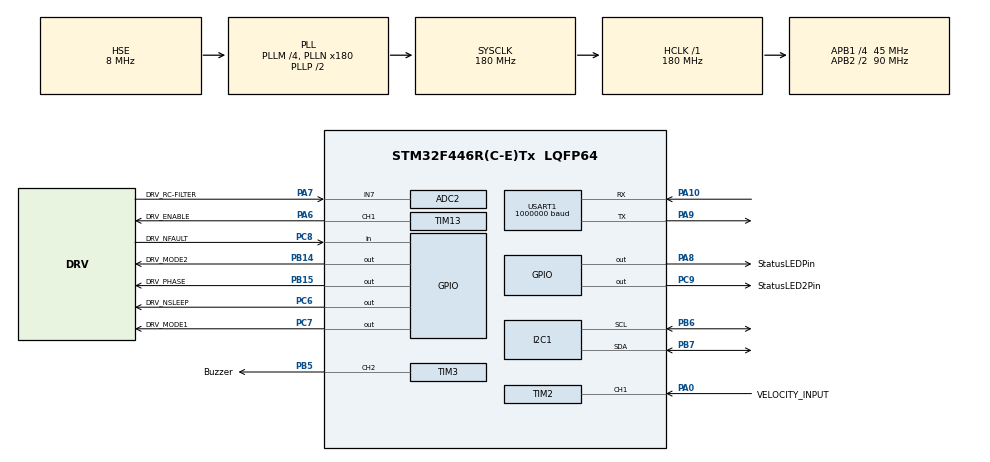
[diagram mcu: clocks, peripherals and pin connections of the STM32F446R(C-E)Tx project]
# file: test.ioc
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ADC2.Channel-0\#ChannelRegularConversion=ADC_CHANNEL_7
ADC2.NbrOfConversionFlag=1
ADC2.Rank-0\#ChannelRegularConversion=1
ADC2.SamplingTime-0\#ChannelRegularConversion=ADC_SAMPLETIME_3CYCLES
I2C1.I2C_Mode=I2C_Fast
Mcu.Family=STM32F4
Mcu.Name=STM32F446R(C-E)Tx
Mcu.Package=LQFP64
NVIC.I2C1_ER_IRQn=true\:12\:0\:true\:false\:true\:true
NVIC.I2C1_EV_IRQn=true\:12\:0\:true\:false\:true\:true
NVIC.PriorityGroup=NVIC_PRIORITYGROUP_4
NVIC.TIM2_IRQn=true\:11\:0\:true\:false\:true\:true
NVIC.TIM3_IRQn=true\:0\:0\:false\:false\:true\:true
NVIC.TIM4_IRQn=true\:0\:0\:false\:false\:true\:true
NVIC.USART1_IRQn=true\:10\:0\:true\:false\:true\:true
PA0-WKUP.GPIO_Label=VELOCITY_INPUT
PA0-WKUP.Signal=S_TIM2_CH1_ETR
PA10.Mode=Asynchronous
PA10.Signal=USART1_RX
PA13.Mode=Serial_Wire
PA13.Signal=SYS_JTMS-SWDIO
PA14.Mode=Serial_Wire
PA14.Signal=SYS_JTCK-SWCLK
PA6.GPIO_Label=DRV_ENABLE
PA6.GPIO_PuPd=GPIO_PULLDOWN
PA6.GPIO_Speed=GPIO_SPEED_FREQ_HIGH
PA6.Signal=S_TIM13_CH1
PA7.GPIO_Label=DRV_RC-FILTER
PA7.Signal=ADCx_IN7
PA8.GPIO_Label=StatusLEDPin
PA8.Signal=GPIO_Output
PA9.Mode=Asynchronous
PA9.Signal=USART1_TX
PB14.GPIO_Label=DRV_MODE2
PB14.Signal=GPIO_Output
PB15.GPIO_Label=DRV_PHASE
PB15.GPIO_PuPd=GPIO_PULLDOWN
PB15.Signal=GPIO_Output
PB5.GPIO_Label=Buzzer
PB5.Signal=S_TIM3_CH2
PB6.Mode=I2C
PB6.Signal=I2C1_SCL
PB7.Mode=I2C
PB7.Signal=I2C1_SDA
PC6.GPIO_Label=DRV_NSLEEP
PC6.GPIO_PuPd=GPIO_NOPULL
PC6.Signal=GPIO_Output
PC7.GPIO_Label=DRV_MODE1
PC7.Signal=GPIO_Output
PC8.GPIO_Label=DRV_NFAULT
PC8.Signal=GPIO_Input
PC9.GPIO_Label=StatusLED2Pin
PC9.Signal=GPIO_Output
PH0-OSC_IN.Mode=HSE-External-Oscillator
PH0-OSC_IN.Signal=RCC_OSC_IN
PH1-OSC_OUT.Mode=HSE-External-Oscillator
PH1-OSC_OUT.Signal=RCC_OSC_OUT
ProjectManager.HeapSize=0x200
ProjectManager.StackSize=0x400
ProjectManager.TargetToolchain=TrueSTUDIO
RCC.AHBFreq_Value=180000000
RCC.APB1CLKDivider=RCC_HCLK_DIV4
RCC.APB1Freq_Value=45000000
RCC.APB1TimFreq_Value=90000000
RCC.APB2CLKDivider=RCC_HCLK_DIV2
RCC.APB2Freq_Value=90000000
RCC.APB2TimFreq_Value=180000000
RCC.CortexFreq_Value=180000000
RCC.HCLKFreq_Value=180000000
RCC.HSE_VALUE=8000000
RCC.PLLM=4
RCC.PLLN=180
RCC.PLLSourceVirtual=RCC_PLLSOURCE_HSE
RCC.SYSCLKFreq_VALUE=180000000
RCC.SYSCLKSource=RCC_SYSCLKSOURCE_PLLCLK
RCC.USBFreq_Value=180000000
RCC.VCOOutputFreq_Value=360000000
SH.ADCx_IN7.0=ADC2_IN7,IN7
SH.S_TIM13_CH1.0=TIM13_CH1,PWM Generation1 CH1
SH.S_TIM2_CH1_ETR.0=TIM2_CH1,Input_Capture1_from_TI1
SH.S_TIM3_CH2.0=TIM3_CH2,PWM Generation2 CH2
TIM13.Channel=TIM_CHANNEL_1
TIM13.Period=4000
TIM13.Prescaler=3
TIM2.Channel-Input_Capture1_from_TI1=TIM_CHANNEL_1
TIM2.ICFilter_CH1=15
TIM2.ICPolarity_CH1=TIM_INPUTCHANNELPOLARITY_FALLING
TIM2.Period=180000-1
TIM2.Prescaler=50-1
TIM3.Channel-PWM\ Generation2\ CH2=TIM_CHANNEL_2
TIM3.Period=1000
TIM3.Prescaler=450
TIM4.Period=1000-1
TIM4.Prescaler=450-1
USART1.BaudRate=1000000
USART1.VirtualMode=VM_ASYNC
VP_TIM13_VS_ClockSourceINT.Mode=Enable_Timer
VP_TIM2_VS_ClockSourceINT.Mode=Internal
VP_TIM3_VS_ClockSourceINT.Mode=Internal
VP_TIM4_VS_ClockSourceINT.Mode=Internal
board=custom

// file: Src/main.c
/**
  ******************************************************************************
  * @file           : main.c
  * @brief          : Main program body
  ******************************************************************************
  ** This notice applies to any and all portions of this file
  * that are not between comment pairs USER CODE BEGIN and
  * USER CODE END. Other portions of this file, whether
  * inserted by the user or by software development tools
  * are owned by their respective copyright owners.
  *
  * COPYRIGHT(c) 2019 STMicroelectronics
  *
  * Redistribution and use in source and binary forms, with or without modification,
  * are permitted provided that the following conditions are met:
  *   1. Redistributions of source code must retain the above copyright notice,
  *      this list of conditions and the following disclaimer.
  *   2. Redistributions in binary form must reproduce the above copyright notice,
  *      this list of conditions and the following disclaimer in the documentation
  *      and/or other materials provided with the distribution.
  *   3. Neither the name of STMicroelectronics nor the names of its contributors
  *      may be used to endorse or promote products derived from this software
  *      without specific prior written permission.
  *
  * THIS SOFTWARE IS PROVIDED BY THE COPYRIGHT HOLDERS AND CONTRIBUTORS "AS IS"
  * AND ANY EXPRESS OR IMPLIED WARRANTIES, INCLUDING, BUT NOT LIMITED TO, THE
  * IMPLIED WARRANTIES OF MERCHANTABILITY AND FITNESS FOR A PARTICULAR PURPOSE ARE
  * DISCLAIMED. IN NO EVENT SHALL THE COPYRIGHT HOLDER OR CONTRIBUTORS BE LIABLE
  * FOR ANY DIRECT, INDIRECT, INCIDENTAL, SPECIAL, EXEMPLARY, OR CONSEQUENTIAL
  * DAMAGES (INCLUDING, BUT NOT LIMITED TO, PROCUREMENT OF SUBSTITUTE GOODS OR
  * SERVICES; LOSS OF USE, DATA, OR PROFITS; OR BUSINESS INTERRUPTION) HOWEVER
  * CAUSED AND ON ANY THEORY OF LIABILITY, WHETHER IN CONTRACT, STRICT LIABILITY,
  * OR TORT (INCLUDING NEGLIGENCE OR OTHERWISE) ARISING IN ANY WAY OUT OF THE USE
  * OF THIS SOFTWARE, EVEN IF ADVISED OF THE POSSIBILITY OF SUCH DAMAGE.
  *
  ******************************************************************************
  */
#include "main.h"
#include "stm32f4xx_hal.h"

/* USER CODE BEGIN Includes */

#include "mpu6500.h"
/* USER CODE END Includes */

ADC_HandleTypeDef hadc2;

I2C_HandleTypeDef hi2c1;

TIM_HandleTypeDef htim2;
TIM_HandleTypeDef htim3;
TIM_HandleTypeDef htim4;
TIM_HandleTypeDef htim13;

UART_HandleTypeDef huart1;

/* USER CODE BEGIN PV */
/* Private variables ---------------------------------------------------------*/
static volatile int UART_READY  = 1;
static volatile int UART_SEND 	= 0;
static volatile int UART_RX 	= 0;
static volatile int I2C_READY 	= 1;
static volatile int MOTOR_READY = 1;
static volatile int TEST_START	= 0;			//FLAG UM EINEN TEST ZU STARTEN

static volatile int DATA_READY_IMU	= 1;

static volatile int TIMER_1MS_READY  = 0;
static volatile int TIMER_AXIS_FINISHED = 0;
 int i = 0;

 int o = 0;

 int a = 0;			//offset calibration y accel

uint8_t initData[2] = {MPU6500_RA_PWR_MGMT_1, 0x80 };
uint8_t ACCEL_XYZ[6] = {0};
uint8_t GYRO_Z[2] = {0};
uint8_t	_GYRO_Z[4] = {0};
uint8_t test;
uint32_t		timeres = 0;
uint8_t			timere 	= 0;

int j = 0;
/*
float actualValues[40] = {0};
float actualValues1[40] = {0};
float actualValues2[40] = {0};
*/

struct{
	uint32_t	SP;
	uint32_t	timerVal;
	uint32_t	state;
	uint32_t	last_state;

}setpointFunc;

struct
{
	uint32_t	IC_Value;
	float		faktor;
	float		period;
	float		frequency_holes;
	float		frequency_axis;
	float		frequency_axis_last;
	float		frequency_axis_fir;
}RearAxis;

struct
{
	float		oldValue;
	float		coeff[2];
}IIR_Filter;

struct
{

	int16_t	raw_accel_x;
	int16_t	raw_accel_y;
	int16_t raw_accel_z;
	int16_t	raw_gyro_z;

	int16_t FIR_raw_accel_x;
	int16_t	FIR_raw_accel_y;
	int16_t FIR_raw_accel_z;
	int16_t FIR_raw_gyro_z;

	float gyro_z;
	float accel_x;
	float accel_y;
	float accel_z;
	uint32_t speed;
	uint32_t speed_fir;
	uint32_t speed_iir_1;
	uint32_t countVal;  //Debug

}MotionData;

struct
{
	float	v_k;		//ergebniss der modells
	float 	v_k_1;
	float	v_k_f;		//gefilteretes ergebnis der geschwindigkeit
	float	v_m;		//messung der geschwindigkeit aus der raddrehzahl
	float	a_k;		//gemessene Beschleunigung

	float 	r_k;		//residuum/innovation
	float	alpha;
	float 	beta;

}estimation;
struct
{
	float	SP_rev;			//setpoint
	float	PV;				//stellwerr
	float 	PV_stell;		//stellwert nach begrenzung
	float	e_k;
	float	lastValue;
	float	sum;			//i regler summe
	uint32_t	e_k_1;
	uint32_t	t_1;
	uint32_t	t_2;
	uint32_t	T;
}velCtrl;

struct
{
	uint32_t	count;
	float		average[100];
	float		offset_accel_y;
	uint32_t	active;
	float		sum;
	uint32_t	imuCalibrated;
}offsetCalculation;

float buffer[5] = {0};			//Moving Average

int16_t	buffer_fir_accel_x[9] = {0};
int16_t	buffer_fir_accel_y[9] = {0};
int16_t	buffer_fir_accel_z[9] = {0};
int16_t	buffer_fir_gyro_z[9] = {0};

char	uart_rxBuffer[4] = {0};			//ascii eingagnspuffer 0 - 4000 1/min
uint32_t	_uart_rxBuffer = 0;

/* USER CODE END PV */

void SystemClock_Config(void);
static void MX_GPIO_Init(void);
static void MX_TIM2_Init(void);
static void MX_TIM3_Init(void);
static void MX_ADC2_Init(void);
static void MX_TIM13_Init(void);
static void MX_USART1_UART_Init(void);
static void MX_I2C1_Init(void);
static void MX_TIM4_Init(void);

void HAL_TIM_MspPostInit(TIM_HandleTypeDef *htim);

/* USER CODE BEGIN PFP */

/* Private function prototypes -----------------------------------------------*/

void getMotionSensorData();
void initMotorDriver();
void sendDiagnosisData();
float IIRFilter(float newValue, float fktOld, float fktNew);
void controller();
void init_IIR_Filter();
void setpoint_func();
void init_SpeedEstimation();
void mpuCalibration();

/* USER CODE END PFP */

/* USER CODE BEGIN 0 */

#define REAR_GEAR_HOLES				10.0
#define TIMER_COUNTER_CYCLE			0.1		//Zykluszeit eines Timerdurchlaufes (90,000,000/50)/180,000
#define TIMER_CLOCK_PERIOD			900000.0	//ABP1 90 Mhz Timer Clk

/* USER CODE END 0 */

int main(void)
{

  /* MCU Configuration----------------------------------------------------------*/

  /* Reset of all peripherals, Initializes the Flash interface and the Systick. */
  HAL_Init();

  /* Configure the system clock */
  SystemClock_Config();

  /* Initialize all configured peripherals */
  MX_GPIO_Init();
  MX_TIM2_Init();
  MX_TIM3_Init();
  MX_ADC2_Init();
  MX_TIM13_Init();
  MX_USART1_UART_Init();
  MX_I2C1_Init();
  MX_TIM4_Init();
  /* USER CODE BEGIN 2 */

 // HAL_TIM_Base_Start(&htim3);
  HAL_TIM_Base_Start_IT(&htim2);
  HAL_TIM_IC_Start_IT(&htim2,TIM_CHANNEL_1);

  HAL_TIM_Base_Start_IT(&htim4);
  HAL_TIM_PWM_Start(&htim13, TIM_CHANNEL_1);
  HAL_TIM_PWM_Start(&htim3, TIM_CHANNEL_2);

  initMotorDriver();
  init_IIR_Filter();
  init_SpeedEstimation();

  HAL_I2C_Master_Transmit(&hi2c1, (MPU6500_ADDRESS_AD0_LOW << 1), (uint8_t *) &initData,sizeof(initData),200);

  HAL_Delay(1000);

  /* USER CODE END 2 */

  /* Infinite loop */
  /* USER CODE BEGIN WHILE */

	//UART MAGIC NUMBER
	_GYRO_Z[0] = 0x63;
	_GYRO_Z[1] = 0x12;

	offsetCalculation.active = 1;

	HAL_UART_Receive_IT(&huart1, (uint8_t *) &uart_rxBuffer, sizeof(uart_rxBuffer));
  while (1)
  {

	  if (UART_SEND && UART_READY)
	  {
		  UART_SEND = 0;
		  UART_READY = 0;
		  j += 5;
		  char txBuffer[50] = {0};
		  sprintf(txBuffer, "%d,%d,%d,%d,\r\n",j, (int) MotionData.accel_y, (int) MotionData.speed_fir, (int) (estimation.v_k_f * 1000));
		  HAL_UART_Transmit_IT(&huart1, (uint8_t *) &txBuffer, sizeof(txBuffer));
	  }

	  if(UART_RX)
	  {
		  UART_RX = 0;

		  HAL_UART_Receive_IT(&huart1, (uint8_t *) &uart_rxBuffer, sizeof(uart_rxBuffer));

		  _uart_rxBuffer = atoi((char *) &uart_rxBuffer);

		  //velCtrl.SP_rev = _uart_rxBuffer * 1.0;
			  TEST_START = 1;

		  uart_rxBuffer[3] = 0;
		  uart_rxBuffer[2] = 0;
		  uart_rxBuffer[1] = 0;
		  uart_rxBuffer[0] = 0;

 		  //ok
	  }

  /* USER CODE END WHILE */

  }

}

void SystemClock_Config(void)
{

  RCC_OscInitTypeDef RCC_OscInitStruct;
  RCC_ClkInitTypeDef RCC_ClkInitStruct;

    /**Configure the main internal regulator output voltage
    */
  __HAL_RCC_PWR_CLK_ENABLE();

  __HAL_PWR_VOLTAGESCALING_CONFIG(PWR_REGULATOR_VOLTAGE_SCALE1);

    /**Initializes the CPU, AHB and APB busses clocks
    */
  RCC_OscInitStruct.OscillatorType = RCC_OSCILLATORTYPE_HSE;
  RCC_OscInitStruct.HSEState = RCC_HSE_ON;
  RCC_OscInitStruct.PLL.PLLState = RCC_PLL_ON;
  RCC_OscInitStruct.PLL.PLLSource = RCC_PLLSOURCE_HSE;
  RCC_OscInitStruct.PLL.PLLM = 4;
  RCC_OscInitStruct.PLL.PLLN = 180;
  RCC_OscInitStruct.PLL.PLLP = RCC_PLLP_DIV2;
  RCC_OscInitStruct.PLL.PLLQ = 2;
  RCC_OscInitStruct.PLL.PLLR = 2;
  if (HAL_RCC_OscConfig(&RCC_OscInitStruct) != HAL_OK)
  {
    _Error_Handler(__FILE__, __LINE__);
  }

    /**Activate the Over-Drive mode
    */
  if (HAL_PWREx_EnableOverDrive() != HAL_OK)
  {
    _Error_Handler(__FILE__, __LINE__);
  }

    /**Initializes the CPU, AHB and APB busses clocks
    */
  RCC_ClkInitStruct.ClockType = RCC_CLOCKTYPE_HCLK|RCC_CLOCKTYPE_SYSCLK
                              |RCC_CLOCKTYPE_PCLK1|RCC_CLOCKTYPE_PCLK2;
  RCC_ClkInitStruct.SYSCLKSource = RCC_SYSCLKSOURCE_PLLCLK;
  RCC_ClkInitStruct.AHBCLKDivider = RCC_SYSCLK_DIV1;
  RCC_ClkInitStruct.APB1CLKDivider = RCC_HCLK_DIV4;
  RCC_ClkInitStruct.APB2CLKDivider = RCC_HCLK_DIV2;

  if (HAL_RCC_ClockConfig(&RCC_ClkInitStruct, FLASH_LATENCY_5) != HAL_OK)
  {
    _Error_Handler(__FILE__, __LINE__);
  }

    /**Configure the Systick interrupt time
    */
  HAL_SYSTICK_Config(HAL_RCC_GetHCLKFreq()/1000);

    /**Configure the Systick
    */
  HAL_SYSTICK_CLKSourceConfig(SYSTICK_CLKSOURCE_HCLK);

  /* SysTick_IRQn interrupt configuration */
  HAL_NVIC_SetPriority(SysTick_IRQn, 0, 0);
}

/* ADC2 init function */
static void MX_ADC2_Init(void)
{

  ADC_ChannelConfTypeDef sConfig;

    /**Configure the global features of the ADC (Clock, Resolution, Data Alignment and number of conversion)
    */
  hadc2.Instance = ADC2;
  hadc2.Init.ClockPrescaler = ADC_CLOCK_SYNC_PCLK_DIV4;
  hadc2.Init.Resolution = ADC_RESOLUTION_12B;
  hadc2.Init.ScanConvMode = DISABLE;
  hadc2.Init.ContinuousConvMode = DISABLE;
  hadc2.Init.DiscontinuousConvMode = DISABLE;
  hadc2.Init.ExternalTrigConvEdge = ADC_EXTERNALTRIGCONVEDGE_NONE;
  hadc2.Init.ExternalTrigConv = ADC_SOFTWARE_START;
  hadc2.Init.DataAlign = ADC_DATAALIGN_RIGHT;
  hadc2.Init.NbrOfConversion = 1;
  hadc2.Init.DMAContinuousRequests = DISABLE;
  hadc2.Init.EOCSelection = ADC_EOC_SINGLE_CONV;
  if (HAL_ADC_Init(&hadc2) != HAL_OK)
  {
    _Error_Handler(__FILE__, __LINE__);
  }

    /**Configure for the selected ADC regular channel its corresponding rank in the sequencer and its sample time.
    */
  sConfig.Channel = ADC_CHANNEL_7;
  sConfig.Rank = 1;
  sConfig.SamplingTime = ADC_SAMPLETIME_3CYCLES;
  if (HAL_ADC_ConfigChannel(&hadc2, &sConfig) != HAL_OK)
  {
    _Error_Handler(__FILE__, __LINE__);
  }

}

/* I2C1 init function */
static void MX_I2C1_Init(void)
{

  hi2c1.Instance = I2C1;
  hi2c1.Init.ClockSpeed = 400000;
  hi2c1.Init.DutyCycle = I2C_DUTYCYCLE_2;
  hi2c1.Init.OwnAddress1 = 0;
  hi2c1.Init.AddressingMode = I2C_ADDRESSINGMODE_7BIT;
  hi2c1.Init.DualAddressMode = I2C_DUALADDRESS_DISABLE;
  hi2c1.Init.OwnAddress2 = 0;
  hi2c1.Init.GeneralCallMode = I2C_GENERALCALL_DISABLE;
  hi2c1.Init.NoStretchMode = I2C_NOSTRETCH_DISABLE;
  if (HAL_I2C_Init(&hi2c1) != HAL_OK)
  {
    _Error_Handler(__FILE__, __LINE__);
  }

}

/* TIM2 init function */
static void MX_TIM2_Init(void)
{

  TIM_ClockConfigTypeDef sClockSourceConfig;
  TIM_MasterConfigTypeDef sMasterConfig;
  TIM_IC_InitTypeDef sConfigIC;

  htim2.Instance = TIM2;
  htim2.Init.Prescaler = 50-1;
  htim2.Init.CounterMode = TIM_COUNTERMODE_UP;
  htim2.Init.Period = 180000-1;
  htim2.Init.ClockDivision = TIM_CLOCKDIVISION_DIV1;
  if (HAL_TIM_Base_Init(&htim2) != HAL_OK)
  {
    _Error_Handler(__FILE__, __LINE__);
  }

  sClockSourceConfig.ClockSource = TIM_CLOCKSOURCE_INTERNAL;
  if (HAL_TIM_ConfigClockSource(&htim2, &sClockSourceConfig) != HAL_OK)
  {
    _Error_Handler(__FILE__, __LINE__);
  }

  if (HAL_TIM_IC_Init(&htim2) != HAL_OK)
  {
    _Error_Handler(__FILE__, __LINE__);
  }

  sMasterConfig.MasterOutputTrigger = TIM_TRGO_RESET;
  sMasterConfig.MasterSlaveMode = TIM_MASTERSLAVEMODE_DISABLE;
  if (HAL_TIMEx_MasterConfigSynchronization(&htim2, &sMasterConfig) != HAL_OK)
  {
    _Error_Handler(__FILE__, __LINE__);
  }

  sConfigIC.ICPolarity = TIM_INPUTCHANNELPOLARITY_FALLING;
  sConfigIC.ICSelection = TIM_ICSELECTION_DIRECTTI;
  sConfigIC.ICPrescaler = TIM_ICPSC_DIV1;
  sConfigIC.ICFilter = 15;
  if (HAL_TIM_IC_ConfigChannel(&htim2, &sConfigIC, TIM_CHANNEL_1) != HAL_OK)
  {
    _Error_Handler(__FILE__, __LINE__);
  }

}

/* TIM3 init function */
static void MX_TIM3_Init(void)
{

  TIM_ClockConfigTypeDef sClockSourceConfig;
  TIM_MasterConfigTypeDef sMasterConfig;
  TIM_OC_InitTypeDef sConfigOC;

  htim3.Instance = TIM3;
  htim3.Init.Prescaler = 450;
  htim3.Init.CounterMode = TIM_COUNTERMODE_UP;
  htim3.Init.Period = 1000;
  htim3.Init.ClockDivision = TIM_CLOCKDIVISION_DIV1;
  if (HAL_TIM_Base_Init(&htim3) != HAL_OK)
  {
    _Error_Handler(__FILE__, __LINE__);
  }

  sClockSourceConfig.ClockSource = TIM_CLOCKSOURCE_INTERNAL;
  if (HAL_TIM_ConfigClockSource(&htim3, &sClockSourceConfig) != HAL_OK)
  {
    _Error_Handler(__FILE__, __LINE__);
  }

  if (HAL_TIM_PWM_Init(&htim3) != HAL_OK)
  {
    _Error_Handler(__FILE__, __LINE__);
  }

  sMasterConfig.MasterOutputTrigger = TIM_TRGO_RESET;
  sMasterConfig.MasterSlaveMode = TIM_MASTERSLAVEMODE_DISABLE;
  if (HAL_TIMEx_MasterConfigSynchronization(&htim3, &sMasterConfig) != HAL_OK)
  {
    _Error_Handler(__FILE__, __LINE__);
  }

  sConfigOC.OCMode = TIM_OCMODE_PWM1;
  sConfigOC.Pulse = 0;
  sConfigOC.OCPolarity = TIM_OCPOLARITY_HIGH;
  sConfigOC.OCFastMode = TIM_OCFAST_DISABLE;
  if (HAL_TIM_PWM_ConfigChannel(&htim3, &sConfigOC, TIM_CHANNEL_2) != HAL_OK)
  {
    _Error_Handler(__FILE__, __LINE__);
  }

  HAL_TIM_MspPostInit(&htim3);

}

/* TIM4 init function */
static void MX_TIM4_Init(void)
{

  TIM_ClockConfigTypeDef sClockSourceConfig;
  TIM_MasterConfigTypeDef sMasterConfig;

  htim4.Instance = TIM4;
  htim4.Init.Prescaler = 450-1;
  htim4.Init.CounterMode = TIM_COUNTERMODE_UP;
  htim4.Init.Period = 1000-1;
  htim4.Init.ClockDivision = TIM_CLOCKDIVISION_DIV1;
  if (HAL_TIM_Base_Init(&htim4) != HAL_OK)
  {
    _Error_Handler(__FILE__, __LINE__);
  }

  sClockSourceConfig.ClockSource = TIM_CLOCKSOURCE_INTERNAL;
  if (HAL_TIM_ConfigClockSource(&htim4, &sClockSourceConfig) != HAL_OK)
  {
    _Error_Handler(__FILE__, __LINE__);
  }

  sMasterConfig.MasterOutputTrigger = TIM_TRGO_RESET;
  sMasterConfig.MasterSlaveMode = TIM_MASTERSLAVEMODE_DISABLE;
  if (HAL_TIMEx_MasterConfigSynchronization(&htim4, &sMasterConfig) != HAL_OK)
  {
    _Error_Handler(__FILE__, __LINE__);
  }

}

/* TIM13 init function */
static void MX_TIM13_Init(void)
{

  TIM_OC_InitTypeDef sConfigOC;

  htim13.Instance = TIM13;
  htim13.Init.Prescaler = 3;
  htim13.Init.CounterMode = TIM_COUNTERMODE_UP;
  htim13.Init.Period = 4000;
  htim13.Init.ClockDivision = TIM_CLOCKDIVISION_DIV1;
  if (HAL_TIM_Base_Init(&htim13) != HAL_OK)
  {
    _Error_Handler(__FILE__, __LINE__);
  }

  if (HAL_TIM_PWM_Init(&htim13) != HAL_OK)
  {
    _Error_Handler(__FILE__, __LINE__);
  }

  sConfigOC.OCMode = TIM_OCMODE_PWM1;
  sConfigOC.Pulse = 0;
  sConfigOC.OCPolarity = TIM_OCPOLARITY_HIGH;
  sConfigOC.OCFastMode = TIM_OCFAST_DISABLE;
  if (HAL_TIM_PWM_ConfigChannel(&htim13, &sConfigOC, TIM_CHANNEL_1) != HAL_OK)
  {
    _Error_Handler(__FILE__, __LINE__);
  }

  HAL_TIM_MspPostInit(&htim13);

}

/* USART1 init function */
static void MX_USART1_UART_Init(void)
{

  huart1.Instance = USART1;
  huart1.Init.BaudRate = 1000000;
  huart1.Init.WordLength = UART_WORDLENGTH_8B;
  huart1.Init.StopBits = UART_STOPBITS_1;
  huart1.Init.Parity = UART_PARITY_NONE;
  huart1.Init.Mode = UART_MODE_TX_RX;
  huart1.Init.HwFlowCtl = UART_HWCONTROL_NONE;
  huart1.Init.OverSampling = UART_OVERSAMPLING_16;
  if (HAL_UART_Init(&huart1) != HAL_OK)
  {
    _Error_Handler(__FILE__, __LINE__);
  }

}

/** Configure pins as
        * Analog
        * Input
        * Output
        * EVENT_OUT
        * EXTI
*/
static void MX_GPIO_Init(void)
{

  GPIO_InitTypeDef GPIO_InitStruct;

  /* GPIO Ports Clock Enable */
  __HAL_RCC_GPIOH_CLK_ENABLE();
  __HAL_RCC_GPIOA_CLK_ENABLE();
  __HAL_RCC_GPIOB_CLK_ENABLE();
  __HAL_RCC_GPIOC_CLK_ENABLE();

  /*Configure GPIO pin Output Level */
  HAL_GPIO_WritePin(GPIOB, DRV_MODE2_Pin|DRV_PHASE_Pin, GPIO_PIN_RESET);

  /*Configure GPIO pin Output Level */
  HAL_GPIO_WritePin(GPIOC, DRV_NSLEEP_Pin|DRV_MODE1_Pin|StatusLED2Pin_Pin, GPIO_PIN_RESET);

  /*Configure GPIO pin Output Level */
  HAL_GPIO_WritePin(StatusLEDPin_GPIO_Port, StatusLEDPin_Pin, GPIO_PIN_RESET);

  /*Configure GPIO pin : DRV_MODE2_Pin */
  GPIO_InitStruct.Pin = DRV_MODE2_Pin;
  GPIO_InitStruct.Mode = GPIO_MODE_OUTPUT_PP;
  GPIO_InitStruct.Pull = GPIO_NOPULL;
  GPIO_InitStruct.Speed = GPIO_SPEED_FREQ_LOW;
  HAL_GPIO_Init(DRV_MODE2_GPIO_Port, &GPIO_InitStruct);

  /*Configure GPIO pin : DRV_PHASE_Pin */
  GPIO_InitStruct.Pin = DRV_PHASE_Pin;
  GPIO_InitStruct.Mode = GPIO_MODE_OUTPUT_PP;
  GPIO_InitStruct.Pull = GPIO_PULLDOWN;
  GPIO_InitStruct.Speed = GPIO_SPEED_FREQ_LOW;
  HAL_GPIO_Init(DRV_PHASE_GPIO_Port, &GPIO_InitStruct);

  /*Configure GPIO pins : DRV_NSLEEP_Pin DRV_MODE1_Pin StatusLED2Pin_Pin */
  GPIO_InitStruct.Pin = DRV_NSLEEP_Pin|DRV_MODE1_Pin|StatusLED2Pin_Pin;
  GPIO_InitStruct.Mode = GPIO_MODE_OUTPUT_PP;
  GPIO_InitStruct.Pull = GPIO_NOPULL;
  GPIO_InitStruct.Speed = GPIO_SPEED_FREQ_LOW;
  HAL_GPIO_Init(GPIOC, &GPIO_InitStruct);

  /*Configure GPIO pin : DRV_NFAULT_Pin */
  GPIO_InitStruct.Pin = DRV_NFAULT_Pin;
  GPIO_InitStruct.Mode = GPIO_MODE_INPUT;
  GPIO_InitStruct.Pull = GPIO_NOPULL;
  HAL_GPIO_Init(DRV_NFAULT_GPIO_Port, &GPIO_InitStruct);

  /*Configure GPIO pin : StatusLEDPin_Pin */
  GPIO_InitStruct.Pin = StatusLEDPin_Pin;
  GPIO_InitStruct.Mode = GPIO_MODE_OUTPUT_PP;
  GPIO_InitStruct.Pull = GPIO_NOPULL;
  GPIO_InitStruct.Speed = GPIO_SPEED_FREQ_LOW;
  HAL_GPIO_Init(StatusLEDPin_GPIO_Port, &GPIO_InitStruct);

}

/* USER CODE BEGIN 4 */

void HAL_UART_RxCpltCallback(UART_HandleTypeDef *huart)
{
		UART_RX = 1;
}

void HAL_UART_TxCpltCallback(UART_HandleTypeDef *huart)
{
        UART_READY = 1;
}

void HAL_UART_ErrorCallback(UART_HandleTypeDef *huart)
{
        UART_READY = 1;
        UART_RX 	= 1;
}

void HAL_TIM_PeriodElapsedCallback(TIM_HandleTypeDef *htim)
{
	if (htim->Instance==TIM4)

	{					//Timer für das Senden der UART Daten
		setpoint_func();
		getMotionSensorData();
		controller();

	}
	else if (htim->Instance==TIM2)
	{
		TIMER_AXIS_FINISHED	= 1;

	}
}

void HAL_TIM_IC_CaptureCallback(TIM_HandleTypeDef *htim)
{
	if(htim->Instance==TIM2)
	{
			RearAxis.IC_Value					= TIM2->CCR1;
			__HAL_TIM_SET_COUNTER(&htim2,0);
			TIMER_AXIS_FINISHED = 0;
			RearAxis.faktor						= RearAxis.IC_Value / TIMER_CLOCK_PERIOD;
			RearAxis.period						= RearAxis.faktor * TIMER_COUNTER_CYCLE;
			RearAxis.frequency_holes			= (60 / RearAxis.period);		// 1 / min
			RearAxis.frequency_axis				= (RearAxis.frequency_holes / REAR_GEAR_HOLES);

			HAL_GPIO_TogglePin(StatusLEDPin_GPIO_Port, StatusLEDPin_Pin);

			if (RearAxis.frequency_axis > 4000)
			{
				RearAxis.frequency_axis = RearAxis.frequency_axis_last;
			}

			buffer[4] = buffer[3];
			buffer[3] = buffer[2];
			buffer[2] = buffer[1];
			buffer[1] = buffer[0];
			buffer[0] = RearAxis.frequency_axis ;		// 1/min

			RearAxis.frequency_axis_fir = (buffer[4] + buffer[3] + buffer[2] + buffer[1] + buffer[0]) / 5.0;
			RearAxis.frequency_axis_last = RearAxis.frequency_axis;
	}
}

void initMotorDriver()
{
	HAL_GPIO_WritePin(DRV_NSLEEP_GPIO_Port, DRV_NSLEEP_Pin, 1);
	HAL_GPIO_WritePin(DRV_PHASE_GPIO_Port, DRV_PHASE_Pin, 0);
	HAL_GPIO_WritePin(DRV_MODE1_GPIO_Port, DRV_MODE1_Pin, 1);
	HAL_GPIO_WritePin(DRV_MODE2_GPIO_Port, DRV_MODE2_Pin, 1);

}

void HAL_TIM_PWM_PulseFinishedCallback(TIM_HandleTypeDef *htim)
{
	if(htim->Instance==TIM13)
	{
		MOTOR_READY = 1;
	}
}

void HAL_I2C_MasterRxCpltCallback(I2C_HandleTypeDef *hi2c)
{
	//if(hi2c->Instance==I2C1)
	//{
		I2C_READY = 1;
	//}
}

void HAL_I2C_MemRxCpltCallback(I2C_HandleTypeDef *hi2c)
{
	//if(hi2c->Instance==I2C1)
	//{
		I2C_READY = 1;
	//}
}

void HAL_I2C_ErrorCallback(I2C_HandleTypeDef *hi2c)
{

  		I2C_READY = 1;

}

void setpoint_func()
{
	//in TIM4 zyklusszeit 200Hz / 5ms
		switch(setpointFunc.state)
		{
		case 0:
			setpointFunc.state = 1;
			break;
		case 1:
			setpointFunc.last_state  = 1;
			if (TEST_START)
			{
				setpointFunc.state = 2;
				break;
			}
			break;
		case 2:
			velCtrl.SP_rev = _uart_rxBuffer * 1.0;

			setpointFunc.last_state  = 2;
			setpointFunc.timerVal ++;

			if(setpointFunc.timerVal >= 200)		// 200 = 1s
			{
				setpointFunc.state = 3;
				setpointFunc.timerVal = 0;
				break;
			}
			break;
		case 3:

			if(setpointFunc.last_state == 2)
			{
				velCtrl.SP_rev = 0.0;
			}
			setpointFunc.last_state  = 3;
			setpointFunc.timerVal ++;

			if(setpointFunc.timerVal >= 200)			//60 = 600ms
			{
				setpointFunc.state = 2;
				setpointFunc.timerVal = 0;
				break;
			}
			break;

		}

}

void controller()
{
				//zyklisches rasussenden der Geschwindigkeitswerte, reset in der main

	if	(TIMER_AXIS_FINISHED == 0)
	{

			MotionData.speed	= RearAxis.frequency_axis;
			MotionData.speed_fir = RearAxis.frequency_axis_fir;

			buffer[0] = 0;
			buffer[1] = 0;
			buffer[2] = 0;
			buffer[3] = 0;
			buffer[4] = 0;
			buffer[5] = 0;
			buffer[6] = 0;
			buffer[7] = 0;
			buffer[8] = 0;
	}
	else
	{
		MotionData.speed	= 0;
		MotionData.speed_fir = 0;

	}
	UART_SEND = 1;

	//datenübertragung für estimatior

	estimation.a_k = MotionData.accel_y / 1000;
	estimation.v_m = MotionData.speed_fir * 0.0014833;

	//Schätzer

	if(offsetCalculation.imuCalibrated){
		estimation.v_k = estimation.v_k_1 + 0.005 * estimation.a_k;			//modell

		estimation.r_k = estimation.v_m - estimation.v_k;

		estimation.v_k_f = estimation.v_k + estimation.alpha * estimation.r_k;

		estimation.v_k_1 = estimation.v_k;
	}
	//regler
	/*
	  //velCtrl.SP_rev = 200.0;
	  	  velCtrl.sum	+= velCtrl.e_k;

		  velCtrl.e_k = (velCtrl.SP_rev - MotionData.speed_fir);
		  velCtrl.PV = velCtrl.lastValue + (2.1 * velCtrl.e_k) + 9.1 * 0.005 * velCtrl.sum;
		  // process = 1/min + ( 10 * ( 1/min - 1/min));

		  if (velCtrl.PV > 4000)
		  {
			  velCtrl.PV_stell = 4000;
		  }
		  else if(velCtrl.PV <= 0)
		  {
			  velCtrl.PV_stell = 0;
			  velCtrl.sum = 0;

		  }else{
			  velCtrl.PV_stell = velCtrl.PV;

		  }

*/

		  __HAL_TIM_SET_COMPARE(&htim13,TIM_CHANNEL_1, velCtrl.SP_rev);  //(int) velCtrl.PV_stell);
		  velCtrl.lastValue = RearAxis.frequency_axis_fir;
		  velCtrl.e_k_1		= velCtrl.e_k;

}

float IIRFilter(float newValue, float fktOld, float fktNew)
{
	return IIR_Filter.oldValue = fktNew * newValue + fktOld * IIR_Filter.oldValue;
}

void init_IIR_Filter()
{
	IIR_Filter.coeff[0] = 0.8;
	IIR_Filter.coeff[1] = 0.2;
	IIR_Filter.oldValue = 0;
}

void init_SpeedEstimation()
{
	estimation.alpha = 0.1;
}

void initMPU6500()
{
	uint8_t		wakeUpMPU6500[2]	= {MPU6500_RA_PWR_MGMT_1, 0x80 };
	uint16_t 	debugVar = 0;

	while(HAL_I2C_Master_Transmit_IT(&hi2c1, (MPU6500_ADDRESS_AD0_LOW << 1),(uint8_t *)  wakeUpMPU6500, sizeof(wakeUpMPU6500)) != HAL_OK)
	{
		debugVar++;
	}
	offsetCalculation.active = 1;			//kalibierroutine für mpu aktivieren

	HAL_Delay(1000);
}

void i2cScanner()
{
	volatile uint8_t hitList[100] = {0};
	uint8_t hitIndex = 0;
	uint8_t i2cdata = 0x3B;

    for (uint8_t devAdress = 0; devAdress < 255; devAdress++){

			while (HAL_I2C_GetState(&hi2c1) != HAL_I2C_STATE_READY)
			{

			}

          if (HAL_I2C_Master_Receive_IT(&hi2c1,devAdress<<1,&i2cdata,sizeof(i2cdata)) == HAL_OK)
          {
                  hitList[hitIndex] = devAdress;
                  hitIndex++;
          }
    }

}

void getMotionSensorData()
{

	  if (I2C_READY ){			//|| (HAL_I2C_GetState(&hi2c1) == HAL_I2C_STATE_READY)
		  I2C_READY = 0;

		  if ((HAL_I2C_Mem_Read_IT(&hi2c1, (MPU6500_ADDRESS_AD0_LOW << 1),MPU6500_RA_ACCEL_XOUT_H,
		  	  		I2C_MEMADD_SIZE_8BIT, (uint8_t *) &ACCEL_XYZ, 6)) != HAL_OK )
		  {
			  MotionData.accel_x = 0;				// mm/s^2
			  		  MotionData.accel_y = 0;
			  		  MotionData.accel_z = 0;
			  		  DATA_READY_IMU = 1;
			  		__HAL_TIM_SET_COMPARE(&htim3,TIM_CHANNEL_2, 500);

		  }else{

			  __HAL_TIM_SET_COMPARE(&htim3,TIM_CHANNEL_2, 0);

		 //MotionData.gyro_z = (((GYRO_Z[1] << 8) | GYRO_Z[0]) - 32767) / 131;

		  MotionData.raw_accel_x = ((ACCEL_XYZ[0] << 8) | ACCEL_XYZ[1]);
		  MotionData.raw_accel_y = ((ACCEL_XYZ[2] << 8) | ACCEL_XYZ[3]);
		  MotionData.raw_accel_z = ((ACCEL_XYZ[4] << 8) | ACCEL_XYZ[5]);

		  buffer_fir_accel_x[9] = buffer_fir_accel_x[8];
		  buffer_fir_accel_x[8] = buffer_fir_accel_x[7];
		  buffer_fir_accel_x[7] = buffer_fir_accel_x[6];
		  buffer_fir_accel_x[6] = buffer_fir_accel_x[5];
		  buffer_fir_accel_x[5] = buffer_fir_accel_x[4];
		  buffer_fir_accel_x[4] = buffer_fir_accel_x[3];
		  buffer_fir_accel_x[3] = buffer_fir_accel_x[2];
		  buffer_fir_accel_x[2] = buffer_fir_accel_x[1];
		  buffer_fir_accel_x[1] = buffer_fir_accel_x[0];
		  buffer_fir_accel_x[0] = MotionData.raw_accel_x;

		  buffer_fir_accel_y[9] = buffer_fir_accel_y[8];
		  buffer_fir_accel_y[8] = buffer_fir_accel_y[7];
		  buffer_fir_accel_y[7] = buffer_fir_accel_y[6];
		  buffer_fir_accel_y[6] = buffer_fir_accel_y[5];
		  buffer_fir_accel_y[5] = buffer_fir_accel_y[4];
		  buffer_fir_accel_y[4] = buffer_fir_accel_y[3];
		  buffer_fir_accel_y[3] = buffer_fir_accel_y[2];
		  buffer_fir_accel_y[2] = buffer_fir_accel_y[1];
		  buffer_fir_accel_y[1] = buffer_fir_accel_y[0];
		  buffer_fir_accel_y[0] = MotionData.raw_accel_y;

		  MotionData.FIR_raw_accel_x = (  buffer_fir_accel_x[8] +
										  buffer_fir_accel_x[7] +
										  buffer_fir_accel_x[6] +
										  buffer_fir_accel_x[5] +
										  buffer_fir_accel_x[4] +
										  buffer_fir_accel_x[3] +
										  buffer_fir_accel_x[2] +
										  buffer_fir_accel_x[1] +
										  buffer_fir_accel_x[0] ) / 8.0;

		  MotionData.FIR_raw_accel_y = (  buffer_fir_accel_y[8] +
										  buffer_fir_accel_y[7] +
										  buffer_fir_accel_y[6] +
										  buffer_fir_accel_y[5] +
										  buffer_fir_accel_y[4] +
										  buffer_fir_accel_y[3] +
										  buffer_fir_accel_y[2] +
										  buffer_fir_accel_y[1] +
										  buffer_fir_accel_y[0] ) / 8.0;

		  MotionData.accel_x = MotionData.FIR_raw_accel_x / 1.6384;				// mm/s^2
		  MotionData.accel_y = (MotionData.FIR_raw_accel_y / 1.6384) - offsetCalculation.offset_accel_y;
		  MotionData.accel_z = MotionData.raw_accel_z / 1.6384;
		  DATA_READY_IMU = 1;
		  //MotionData.accel_y = (((ACCEL_XY[2] << 8) | ACCEL_XY[3])- 32767.0) / 131;

		  mpuCalibration();
		  }

	 }
}

void mpuCalibration()
{
	if (offsetCalculation.active){

		if(offsetCalculation.count <= 99){
			offsetCalculation.average[offsetCalculation.count] = MotionData.accel_y;
			offsetCalculation.count ++;
		}else{
			if(a<=99)
			{
				offsetCalculation.sum += offsetCalculation.average[a];
				a++;

			}else{
				offsetCalculation.offset_accel_y = offsetCalculation.sum / 99.0;
				offsetCalculation.active = 0;
				offsetCalculation.imuCalibrated = 1;
			}
		}
	}
}

/*
void SM_IMU()
{
	switch(STATE_IMU)
	{
	case 0:

		break;
	case 1:
		break;
	case 2:
		break;
	case 3:
		break;
	case 4:
		break;

	}
}
*/

/* USER CODE END 4 */

void _Error_Handler(char *file, int line)
{
  while(1)
  {
  }
}

/************************ (C) COPYRIGHT STMicroelectronics *****END OF FILE****/
